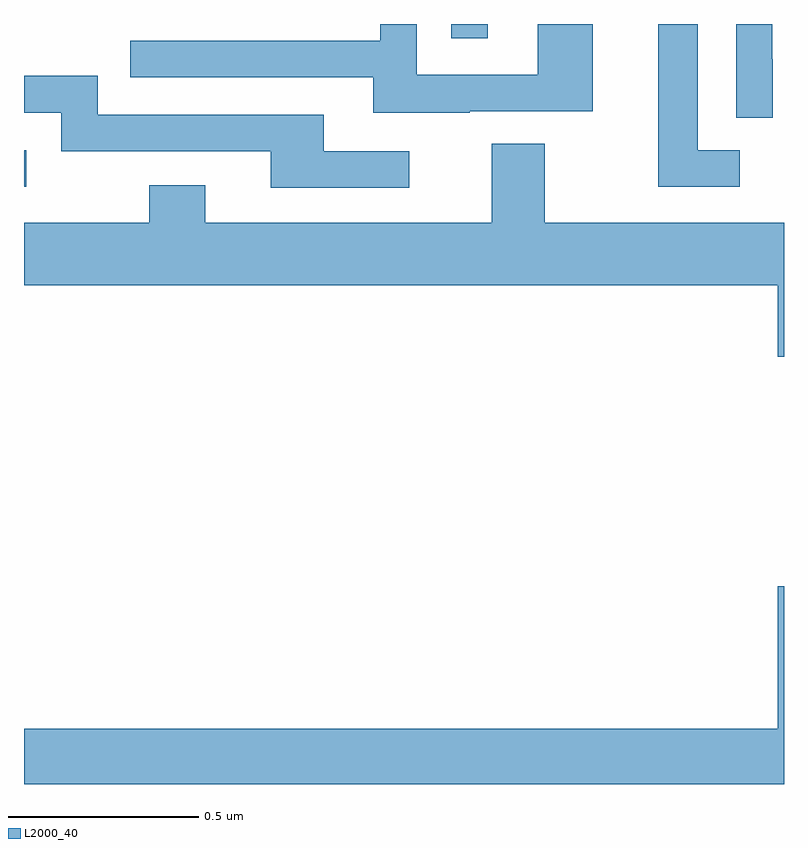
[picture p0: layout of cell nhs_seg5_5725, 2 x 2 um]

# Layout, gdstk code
import gdstk
lib = gdstk.Library(unit=1e-6, precision=1e-09)
def R(c, l, rs):  # rectangles x0, y0, x1, y1
    for r in rs: c.add(gdstk.rectangle(r[:2], r[2:], *l))
def P(c, l, *ps):  # polygons
    for p in ps: c.add(gdstk.Polygon(p, *l))
L2000_40 = (2000, 40)

nhs_seg5_5725 = lib.new_cell('nhs_seg5_5725')
R(nhs_seg5_5725, L2000_40, [(187,838.371,187.006,838.467), (188.124,838.761,188.221,838.799)])
P(nhs_seg5_5725, L2000_40, [(188.97,838.706),(188.969,838.706),(188.969,838.799),(188.874,838.799),(188.874,838.552),(188.97,838.552)],
  [(188.884,838.467),(188.773,838.467),(188.773,838.799),(188.669,838.799),(188.669,838.371),(188.884,838.371)],
  [(188.173,838.569),(188.497,838.569),(188.497,838.799),(188.352,838.799),(188.352,838.665),(188.034,838.665),(188.034,838.799),(187.938,838.799),(187.938,838.755),(187.279,838.755),(187.279,838.659),(187.919,838.659),(187.919,838.565),(188.173,838.565)],
  [(188.014,838.464),(187.789,838.464),(187.789,838.56),(187.194,838.56),(187.194,838.663),(187,838.663),(187,838.566),(187.098,838.566),(187.098,838.464),(187.649,838.464),(187.649,838.368),(188.014,838.368)],
  [(189,838.276),(188.371,838.276),(188.371,838.484),(188.231,838.484),(188.231,838.276),(187.477,838.276),(187.477,838.375),(187.33,838.375),(187.33,838.276),(187,838.276),(187,838.112),(188.984,838.112),(188.984,837.924),(189,837.924)],
  [(189,837.319),(188.984,837.319),(188.984,836.944),(187,836.944),(187,836.799),(189,836.799)])

lib.write_gds('nhs_seg5_5725.gds')
